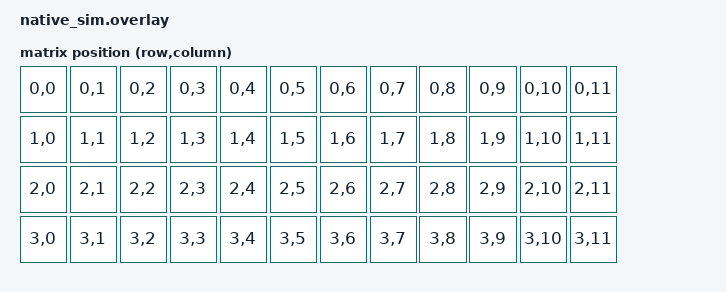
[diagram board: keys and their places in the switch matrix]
/*
 * Copyright (c) 2026 The ZMK Contributors
 * SPDX-License-Identifier: MIT
 *
 * Devicetree fixture for the native_sim preview harness.
 *
 * Deliberately standalone: a stock upstream 4x12 grid layout plus a 48-LED
 * strip, so the previews do not depend on the keypaw48 shield or any of the
 * real hardware bring-up. Effects belong to the preview_selector overlay;
 * rgbs is the canonical control for that selector.
 *
 * The strip is a keypaw,led-strip-capture device rather than a real WS2812: the
 * capture driver records every frame the engine paints, which is what the GIF
 * renderer consumes. See tests/sim/module/src/kp_rgb_sim.c.
 *
 * The effect registry below is one node per documented attribute value in the
 * README's "Built-in effects" table, not the full cross product, so each
 * attribute gets a preview without near-duplicates. The preview runner asks the
 * firmware for this list (`zmk.exe --list-effects`) and names each GIF after the
 * node's `display-name`, so the two stay in sync automatically.
 */

#include <dt-bindings/led/led.h>
#include <dt-bindings/zmk/kscan_mock.h>
#include <dt-bindings/zmk/matrix_transform.h>

#include <layouts/common/ortho_4x12/all1u.dtsi>

/ {
    chosen {
        zmk,physical-layout = &layout_ortho_4x12_all1u;
    };

    /* Position -> matrix cell. Identity, so key position N is RC(N / 12, N % 12)
     * and the fixture reads exactly like the grid it draws. */
    default_transform: keymap_transform_0 {
        compatible = "zmk,matrix-transform";
        columns = <12>;
        rows = <4>;

        map = <
            RC(0, 0) RC(0, 1) RC(0, 2) RC(0, 3) RC(0, 4) RC(0, 5) RC(0, 6) RC(0, 7) RC(0, 8) RC(0, 9) RC(0, 10) RC(0, 11)
            RC(1, 0) RC(1, 1) RC(1, 2) RC(1, 3) RC(1, 4) RC(1, 5) RC(1, 6) RC(1, 7) RC(1, 8) RC(1, 9) RC(1, 10) RC(1, 11)
            RC(2, 0) RC(2, 1) RC(2, 2) RC(2, 3) RC(2, 4) RC(2, 5) RC(2, 6) RC(2, 7) RC(2, 8) RC(2, 9) RC(2, 10) RC(2, 11)
            RC(3, 0) RC(3, 1) RC(3, 2) RC(3, 3) RC(3, 4) RC(3, 5) RC(3, 6) RC(3, 7) RC(3, 8) RC(3, 9) RC(3, 10) RC(3, 11)
        >;
    };

    led_strip_capture: led-strip-capture {
        compatible = "keypaw,led-strip-capture";
        chain-length = <48>;
        /* The capture driver writes struct led_rgb's r/g/b verbatim, so the
         * mapping is the honest one for it, not the GRB order a WS2812 needs. */
        color-mapping = <LED_COLOR_ID_RED LED_COLOR_ID_GREEN LED_COLOR_ID_BLUE>;
    };

    rgb_matrix: rgb {
        compatible = "keypaw,rgb-matrix";
        #binding-cells = <2>;
        strip = <&led_strip_capture>;
        physical-layout = <&layout_ortho_4x12_all1u>;
        initial-on;
        initial-brightness = <100>;
        max-brightness = <100>;
        idle-brightness = <100>;

        /* Chain index N sits under key position N. Must have exactly
         * chain-length entries (BUILD_ASSERT in the module). */
        mapping = <
            0  1  2  3  4  5  6  7  8  9 10 11
           12 13 14 15 16 17 18 19 20 21 22 23
           24 25 26 27 28 29 30 31 32 33 34 35
           36 37 38 39 40 41 42 43 44 45 46 47
        >;
        preview_selector: preview_selector {
            compatible = "keypaw,rgb-overlay-selector";
            all-leds;
            initial-effect = <0>;

            /* --- static fields ------------------------------------------- */

            fx_solid: fx_solid {
                compatible = "keypaw,rgb-matrix-solid";
                color = <0xFF0000>; duration = <4000>;
            };

            fx_solid_v: fx_solid_v {
                compatible = "keypaw,rgb-matrix-solid";
                axis = "vertical";
                color = <0xFF0000>;
            };

            fx_solid_h: fx_solid_h {
                compatible = "keypaw,rgb-matrix-solid";
                axis = "horizontal";
                color = <0xFF0000>;
            };

            fx_static: fx_static {
                compatible = "keypaw,rgb-matrix-static";
                /* One hue per column, repeated down the board. */
                led-colors = <
                    0xFF0000 0xFF8000 0xFFFF00 0x80FF00 0x00FF00 0x00FF80
                    0x00FFFF 0x0080FF 0x0000FF 0x8000FF 0xFF00FF 0xFF0080
                    0xFF0000 0xFF8000 0xFFFF00 0x80FF00 0x00FF00 0x00FF80
                    0x00FFFF 0x0080FF 0x0000FF 0x8000FF 0xFF00FF 0xFF0080
                    0xFF0000 0xFF8000 0xFFFF00 0x80FF00 0x00FF00 0x00FF80
                    0x00FFFF 0x0080FF 0x0000FF 0x8000FF 0xFF00FF 0xFF0080
                    0xFF0000 0xFF8000 0xFFFF00 0x80FF00 0x00FF00 0x00FF80
                    0x00FFFF 0x0080FF 0x0000FF 0x8000FF 0xFF00FF 0xFF0080
                >;
            };

            /* --- global oscillators -------------------------------------- */

            fx_breathe: fx_breathe {
                compatible = "keypaw,rgb-matrix-breathe";
                mode = "brightness";
                color = <0x0000FF>;
            };

            fx_breathe_river: fx_breathe_river {
                compatible = "keypaw,rgb-matrix-breathe";
                mode = "river";
                color = <0x0000FF>;
            };

            fx_breathe_hue: fx_breathe_hue {
                compatible = "keypaw,rgb-matrix-breathe";
                mode = "hue";
                color = <0x0000FF>;
            };

            fx_breathe_pendulum: fx_breathe_pendulum {
                compatible = "keypaw,rgb-matrix-breathe";
                mode = "pendulum";
                color = <0x0000FF>;
            };

            fx_breathe_wave: fx_breathe_wave {
                compatible = "keypaw,rgb-matrix-breathe";
                mode = "wave";
                color = <0x0000FF>;
            };

            fx_spectrum: fx_spectrum {
                compatible = "keypaw,rgb-matrix-spectrum";
            };

            /* --- moving spatial fields ----------------------------------- */

            fx_rainbow: fx_rainbow {
                compatible = "keypaw,rgb-matrix-rainbow";
                basis = "x";
            };

            fx_rainbow_y: fx_rainbow_y {
                compatible = "keypaw,rgb-matrix-rainbow";
                basis = "y";
            };

            fx_rainbow_radial: fx_rainbow_radial {
                compatible = "keypaw,rgb-matrix-rainbow";
                basis = "radial";
            };

            fx_rainbow_pinwheel: fx_rainbow_pinwheel {
                compatible = "keypaw,rgb-matrix-rainbow";
                basis = "pinwheel";
            };

            fx_rainbow_spiral: fx_rainbow_spiral {
                compatible = "keypaw,rgb-matrix-rainbow";
                basis = "spiral";
            };

            fx_rainbow_chevron: fx_rainbow_chevron {
                compatible = "keypaw,rgb-matrix-rainbow";
                basis = "chevron";
            };

            fx_rainbow_flag: fx_rainbow_flag {
                compatible = "keypaw,rgb-matrix-rainbow";
                basis = "flag";
            };

            fx_rainbow_in: fx_rainbow_in {
                compatible = "keypaw,rgb-matrix-rainbow";
                basis = "x";
                direction = "in";
            };

            fx_rainbow_dual: fx_rainbow_dual {
                compatible = "keypaw,rgb-matrix-rainbow";
                /* `dual` picks two centres, so it only reads against a radial
                 * basis; with basis x it renders exactly like plain x. */
                basis = "radial";
                direction = "dual";
            };

            fx_rainbow_bloom: fx_rainbow_bloom {
                compatible = "keypaw,rgb-matrix-rainbow";
                basis = "x";
                direction = "bloom";
            };

            fx_rainbow_solid: fx_rainbow_solid {
                compatible = "keypaw,rgb-matrix-rainbow";
                basis = "x";
                palette = "solid";
                color = <0x00FFFF>;
            };

            fx_band: fx_band {
                compatible = "keypaw,rgb-matrix-band";
                channel = "sat";
                shape = "linear";
                color = <0x00FF00>;
            };

            fx_band_pinwheel: fx_band_pinwheel {
                compatible = "keypaw,rgb-matrix-band";
                channel = "sat";
                shape = "pinwheel";
                color = <0x00FF00>;
            };

            fx_band_spiral: fx_band_spiral {
                compatible = "keypaw,rgb-matrix-band";
                channel = "sat";
                shape = "spiral";
                color = <0x00FF00>;
            };

            fx_band_val: fx_band_val {
                compatible = "keypaw,rgb-matrix-band";
                channel = "val";
                shape = "linear";
                color = <0x00FF00>;
            };

            /* --- reactive ------------------------------------------------ */

            fx_reactive: fx_reactive {
                compatible = "keypaw,rgb-matrix-reactive";
                spread = "point";
                color = <0xFFFFFF>;
                duration = <500>;
            };

            fx_reactive_disc: fx_reactive_disc {
                compatible = "keypaw,rgb-matrix-reactive";
                spread = "disc";
                spread-radius = <250>;
                color = <0xFFFFFF>;
                duration = <500>;
            };

            fx_reactive_cross: fx_reactive_cross {
                compatible = "keypaw,rgb-matrix-reactive";
                spread = "cross";
                color = <0xFFFFFF>;
                duration = <500>;
            };

            fx_reactive_nexus: fx_reactive_nexus {
                compatible = "keypaw,rgb-matrix-reactive";
                spread = "nexus";
                spread-radius = <250>;
                color = <0xFFFFFF>;
                duration = <500>;
            };

            fx_reactive_gradient: fx_reactive_gradient {
                compatible = "keypaw,rgb-matrix-reactive";
                spread = "disc";
                palette = "gradient";
                /* The palette only overrides hue (reactive.c keeps saturation
                 * from the preset), so an unsaturated preset renders every
                 * position hue as white. */
                color = <0x00FFFF>;
                duration = <500>;
            };

            fx_reactive_complement: fx_reactive_complement {
                compatible = "keypaw,rgb-matrix-reactive";
                spread = "disc";
                palette = "complement";
                color = <0x00FFFF>;
                duration = <500>;
            };

            fx_reactive_multi: fx_reactive_multi {
                compatible = "keypaw,rgb-matrix-reactive";
                spread = "disc";
                multi;
                color = <0xFFFFFF>;
                duration = <500>;
            };

            fx_ripple: fx_ripple {
                compatible = "keypaw,rgb-matrix-ripple";
                color = <0x00FFFF>;
                duration = <2000>;
            };

            /* --- stochastic ---------------------------------------------- */

            fx_rain: fx_rain {
                compatible = "keypaw,rgb-matrix-rain";
                mode = "pixel";
                /* Hue is randomised per LED but saturation comes from the
                 * preset, so an unsaturated preset would fade every random hue
                 * to white. */
                color = <0xFF0000>;
            };

            fx_rain_flow: fx_rain_flow {
                compatible = "keypaw,rgb-matrix-rain";
                mode = "flow";
                color = <0xFF0000>;
            };

            fx_rain_drops: fx_rain_drops {
                compatible = "keypaw,rgb-matrix-rain";
                /* QMK's RAINDROPS: one random key's hue is nudged each step and
                 * the board never goes dark, so this preview is a lit mosaic
                 * drifting in hue rather than the flashes of Rain (pixel). */
                mode = "drops";
                color = <0xFF0000>;
            };

            fx_rain_jellybean: fx_rain_jellybean {
                compatible = "keypaw,rgb-matrix-rain";
                mode = "jellybean";
                color = <0xFF0000>;
            };

            fx_rain_fractal: fx_rain_fractal {
                compatible = "keypaw,rgb-matrix-rain";
                mode = "fractal";
                color = <0xFF0000>;
            };

            fx_starlight: fx_starlight {
                compatible = "keypaw,rgb-matrix-starlight";
                color = <0xFFFFFF>;
            };

            fx_starlight_smooth: fx_starlight_smooth {
                compatible = "keypaw,rgb-matrix-starlight";
                smooth;
                color = <0xFFFFFF>;
            };

            fx_starlight_dual_hue: fx_starlight_dual_hue {
                compatible = "keypaw,rgb-matrix-starlight";
                dual-hue;
                /* Hue jitter is invisible on an unsaturated preset. */
                color = <0x00FFFF>;
            };

            fx_starlight_dual_sat: fx_starlight_dual_sat {
                compatible = "keypaw,rgb-matrix-starlight";
                dual-sat;
                color = <0x00FFFF>;
            };

            fx_heatmap: fx_heatmap {
                compatible = "keypaw,rgb-matrix-heatmap";
                spread = <300>;
            };

            fx_heatmap_no_spread: fx_heatmap_no_spread {
                compatible = "keypaw,rgb-matrix-heatmap";
                spread = <0>;
            };

            fx_digital_rain: fx_digital_rain {
                compatible = "keypaw,rgb-matrix-digital-rain";
                color = <0x00FF00>;
            };
        };
        fixture_overlay: fixture_overlay {
            compatible = "keypaw,rgb-overlay";
            fx_fixture {
                compatible = "keypaw,rgb-matrix-reactive";
                color = <0x102030>;
                duration = <500>;
            };
        };

        /* The battery gauge, `all-leds` shape. `local;` is present only to
         * exercise the per-half gate path at compile time -- the charge is read
         * per half in the renderer regardless. The latch gate stays off in the
         * fixture, so it never covers a preview. */
        fixture_battery: fixture_battery {
            compatible = "keypaw,rgb-overlay-battery";
            condition = <&fixture_latch>;
            all-leds;
            local;
            color = <0x00FF00>;
        };

        /* The battery gauge, subset shape: a few raw LEDs at non-100 opacity,
         * exercising the keys/leds ordering and the blend path. Gated by the
         * (off) latch too, so it changes no preview. */
        fixture_batt_sub: fixture_batt_sub {
            compatible = "keypaw,rgb-overlay-battery";
            condition = <&fixture_latch>;
            leds = <0 1 2 3>;
            opacity = <50>;
            reverse;
            color = <0x102030>;
        };
    };

    rgb_conditions: rgb_conditions {
        compatible = "keypaw,rgb-conditions";

        fixture_caps: fixture_caps {
            compatible = "keypaw,rgb-condition-caps-lock";
        };

        fixture_layer: fixture_layer {
            compatible = "keypaw,rgb-condition-layer";
            layer = <1>;
        };

        /* A stateful latch with its nested toggle behavior. Nothing presses
         * ovl_tog here (the harness has no behavior-injection option), so the
         * latch stays off and no preview pixel changes; this exercises the
         * driver, binding, Kconfig and DT path at compile/link time. The
         * behavior name must be <=8 characters. */
        fixture_latch: fixture_latch {
            compatible = "keypaw,rgb-condition-latch";

            ovl_tog: ovl_tog {
                compatible = "keypaw,behavior-rgb-overlay-toggle";
                #binding-cells = <0>;
            };
        };

        fixture_or: fixture_or {
            compatible = "keypaw,rgb-condition-or";
            conditions = <&fixture_caps &fixture_latch>;
        };
    };


    behaviors {
        rgbs: rgbs {
            compatible = "keypaw,behavior-rgb-selector";
            #binding-cells = <2>;
            selector = <&preview_selector>;
        };
    };
};

/* The upstream 4x12 fragment ships only the key geometry; the transform is the
 * consumer's job (zmk,physical-layout requires one). */
&layout_ortho_4x12_all1u {
    transform = <&default_transform>;
};

&kscan {
    rows = <4>;
    columns = <12>;
    /* Do not let kscan-mock exit(0) once the events run out; -stop_at ends the
     * run instead, so the tail of the animation is captured too. */
    /delete-property/ exit-after;

    /* ZMK_MOCK_PRESS/RELEASE(row, col, ms-since-previous-event). A ~200 ms
     * typing cadence across the whole run, so the press-driven effects
     * (reactive, ripple, heatmap) have content throughout instead of only in
     * the first second.
     *
     * The home-row keys are revisited on purpose: heatmap adds
     * increase-step shades per press but decays between them, so a key typed
     * once is a dim dot while one typed repeatedly goes hot. */
    events = <
        ZMK_MOCK_PRESS(1, 1, 200) ZMK_MOCK_RELEASE(1, 1, 60)
        ZMK_MOCK_PRESS(1, 2, 140) ZMK_MOCK_RELEASE(1, 2, 60)
        ZMK_MOCK_PRESS(1, 3, 140) ZMK_MOCK_RELEASE(1, 3, 60)
        ZMK_MOCK_PRESS(1, 1, 140) ZMK_MOCK_RELEASE(1, 1, 60)
        ZMK_MOCK_PRESS(1, 2, 140) ZMK_MOCK_RELEASE(1, 2, 60)
        ZMK_MOCK_PRESS(1, 3, 140) ZMK_MOCK_RELEASE(1, 3, 60)
        ZMK_MOCK_PRESS(2, 4, 140) ZMK_MOCK_RELEASE(2, 4, 60)
        ZMK_MOCK_PRESS(1, 1, 140) ZMK_MOCK_RELEASE(1, 1, 60)
        ZMK_MOCK_PRESS(1, 2, 140) ZMK_MOCK_RELEASE(1, 2, 60)
        ZMK_MOCK_PRESS(1, 3, 140) ZMK_MOCK_RELEASE(1, 3, 60)
        ZMK_MOCK_PRESS(1, 6, 140) ZMK_MOCK_RELEASE(1, 6, 60)
        ZMK_MOCK_PRESS(1, 7, 140) ZMK_MOCK_RELEASE(1, 7, 60)
        ZMK_MOCK_PRESS(1, 6, 140) ZMK_MOCK_RELEASE(1, 6, 60)
        ZMK_MOCK_PRESS(2, 8, 140) ZMK_MOCK_RELEASE(2, 8, 60)
        ZMK_MOCK_PRESS(1, 1, 140) ZMK_MOCK_RELEASE(1, 1, 60)
        ZMK_MOCK_PRESS(1, 2, 140) ZMK_MOCK_RELEASE(1, 2, 60)
        ZMK_MOCK_PRESS(1, 3, 140) ZMK_MOCK_RELEASE(1, 3, 60)
        ZMK_MOCK_PRESS(3, 5, 140) ZMK_MOCK_RELEASE(3, 5, 60)
    >;
};
